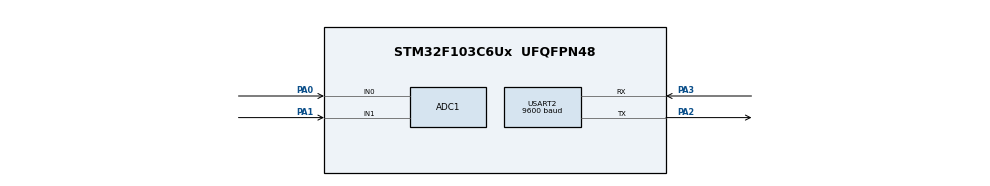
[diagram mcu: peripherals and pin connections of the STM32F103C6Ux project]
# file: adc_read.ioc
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ADC1.Channel-0\#ChannelRegularConversion=ADC_CHANNEL_0
ADC1.Channel-1\#ChannelRegularConversion=ADC_CHANNEL_1
ADC1.ContinuousConvMode=ENABLE
ADC1.NbrOfConversion=2
ADC1.NbrOfConversionFlag=1
ADC1.Rank-0\#ChannelRegularConversion=1
ADC1.Rank-1\#ChannelRegularConversion=2
ADC1.SamplingTime-0\#ChannelRegularConversion=ADC_SAMPLETIME_1CYCLE_5
ADC1.SamplingTime-1\#ChannelRegularConversion=ADC_SAMPLETIME_7CYCLES_5
ADC1.master=1
Mcu.Family=STM32F1
Mcu.Name=STM32F103C6Ux
Mcu.Package=UFQFPN48
NVIC.PriorityGroup=NVIC_PRIORITYGROUP_4
NVIC.TIM2_IRQn=true\:0\:0\:false\:false\:true\:true\:true
NVIC.USART2_IRQn=true\:0\:0\:false\:false\:true\:true\:true
PA0-WKUP.Signal=ADCx_IN0
PA1.Signal=ADCx_IN1
PA2.Mode=Asynchronous
PA2.Signal=USART2_TX
PA3.Mode=Asynchronous
PA3.Signal=USART2_RX
ProjectManager.HeapSize=0x200
ProjectManager.StackSize=0x400
ProjectManager.TargetToolchain=STM32CubeIDE
RCC.APB1Freq_Value=8000000
RCC.APB2Freq_Value=8000000
SH.ADCx_IN0.0=ADC1_IN0,IN0
SH.ADCx_IN1.0=ADC1_IN1,IN1
TIM2.Period=9
TIM2.Prescaler=7999
USART2.BaudRate=9600
USART2.VirtualMode=VM_ASYNC
VP_SYS_VS_ND.Mode=No_Debug
VP_TIM2_VS_ClockSourceINT.Mode=Internal
board=custom

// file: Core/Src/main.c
/* USER CODE BEGIN Header */
/**
  ******************************************************************************
  * @file           : main.c
  * @brief          : Main program body
  ******************************************************************************
  * @attention
  *
  * <h2><center>&copy; Copyright (c) 2022 STMicroelectronics.
  * All rights reserved.</center></h2>
  *
  * This software component is licensed by ST under BSD 3-Clause license,
  * the "License"; You may not use this file except in compliance with the
  * License. You may obtain a copy of the License at:
  *                        opensource.org/licenses/BSD-3-Clause
  *
  ******************************************************************************
  */
/* USER CODE END Header */
#include "main.h"

/* USER CODE BEGIN Includes */
#include "timer.h"
#include "read_string.h"
/* USER CODE END Includes */

ADC_HandleTypeDef hadc1;

TIM_HandleTypeDef htim2;

UART_HandleTypeDef huart2;

void SystemClock_Config(void);
static void MX_GPIO_Init(void);
static void MX_ADC1_Init(void);
static void MX_TIM2_Init(void);
static void MX_USART2_UART_Init(void);

/* USER CODE BEGIN 0 */
void HAL_UART_RxCpltCallback(UART_HandleTypeDef *huart){
	//HAL_UART_Transmit(&huart2, &temp, 1, 50);
	if(huart -> Instance == USART2 ){
		buffer[index_buffer++] = temp;
		if(index_buffer == MAX_BUFFER_SIZE) index_buffer = 0;
		buffer_flag = 1;
		HAL_UART_Receive_IT(&huart2, &temp, 1);

//		buffer[index_buffer2++] = temp2;
//		if(index_buffer2 == MAX_BUFFER_SIZE) index_buffer2 = 0;
//		buffer_flag2 = 1;
//		HAL_UART_Receive_IT(&huart2, &temp, 1);
	}

}

int ADC1_val = 0;
int ADC2_val = 0;
char str[100];
/* USER CODE END 0 */

int main(void)
{

  /* MCU Configuration--------------------------------------------------------*/

  /* Reset of all peripherals, Initializes the Flash interface and the Systick. */
  HAL_Init();

  /* Configure the system clock */
  SystemClock_Config();

  /* Initialize all configured peripherals */
  MX_GPIO_Init();
  MX_ADC1_Init();
  MX_TIM2_Init();
  MX_USART2_UART_Init();
  /* USER CODE BEGIN 2 */
  HAL_UART_Receive_IT (&huart2, &temp, 1);
  HAL_TIM_Base_Start_IT(&htim2);
  /* USER CODE END 2 */
// setTimer2(100);
  /* Infinite loop */
  while (1)
  {
 	  if (buffer_flag == 1){
 		  cmd_parser_fsm();
 		  buffer_flag = 0;
 	  }

 	  uart_comms_fsm();
  }
}

void SystemClock_Config(void)
{
  RCC_OscInitTypeDef RCC_OscInitStruct = {0};
  RCC_ClkInitTypeDef RCC_ClkInitStruct = {0};
  RCC_PeriphCLKInitTypeDef PeriphClkInit = {0};

  /** Initializes the RCC Oscillators according to the specified parameters
  * in the RCC_OscInitTypeDef structure.
  */
  RCC_OscInitStruct.OscillatorType = RCC_OSCILLATORTYPE_HSI;
  RCC_OscInitStruct.HSIState = RCC_HSI_ON;
  RCC_OscInitStruct.HSICalibrationValue = RCC_HSICALIBRATION_DEFAULT;
  RCC_OscInitStruct.PLL.PLLState = RCC_PLL_NONE;
  if (HAL_RCC_OscConfig(&RCC_OscInitStruct) != HAL_OK)
  {
    Error_Handler();
  }
  /** Initializes the CPU, AHB and APB buses clocks
  */
  RCC_ClkInitStruct.ClockType = RCC_CLOCKTYPE_HCLK|RCC_CLOCKTYPE_SYSCLK
                              |RCC_CLOCKTYPE_PCLK1|RCC_CLOCKTYPE_PCLK2;
  RCC_ClkInitStruct.SYSCLKSource = RCC_SYSCLKSOURCE_HSI;
  RCC_ClkInitStruct.AHBCLKDivider = RCC_SYSCLK_DIV1;
  RCC_ClkInitStruct.APB1CLKDivider = RCC_HCLK_DIV1;
  RCC_ClkInitStruct.APB2CLKDivider = RCC_HCLK_DIV1;

  if (HAL_RCC_ClockConfig(&RCC_ClkInitStruct, FLASH_LATENCY_0) != HAL_OK)
  {
    Error_Handler();
  }
  PeriphClkInit.PeriphClockSelection = RCC_PERIPHCLK_ADC;
  PeriphClkInit.AdcClockSelection = RCC_ADCPCLK2_DIV2;
  if (HAL_RCCEx_PeriphCLKConfig(&PeriphClkInit) != HAL_OK)
  {
    Error_Handler();
  }
}

static void MX_ADC1_Init(void)
{

  /** Common config
  */
  hadc1.Instance = ADC1;
  hadc1.Init.ScanConvMode = ADC_SCAN_ENABLE;
  hadc1.Init.ContinuousConvMode = ENABLE;
  hadc1.Init.DiscontinuousConvMode = DISABLE;
  hadc1.Init.ExternalTrigConv = ADC_SOFTWARE_START;
  hadc1.Init.DataAlign = ADC_DATAALIGN_RIGHT;
  hadc1.Init.NbrOfConversion = 1;
  if (HAL_ADC_Init(&hadc1) != HAL_OK)
  {
    Error_Handler();
  }
  /** Configure Regular Channel
  */
//  sConfig.Channel = ADC_CHANNEL_0;
//  sConfig.Rank = ADC_REGULAR_RANK_1;
//  sConfig.SamplingTime = ADC_SAMPLETIME_1CYCLE_5;
//  if (HAL_ADC_ConfigChannel(&hadc1, &sConfig) != HAL_OK)
//  {
//    Error_Handler();
//  }
//  /** Configure Regular Channel
//  */
//  sConfig.Channel = ADC_CHANNEL_1;
//  sConfig.Rank = ADC_REGULAR_RANK_2;
//  sConfig.SamplingTime = ADC_SAMPLETIME_7CYCLES_5;
//  if (HAL_ADC_ConfigChannel(&hadc1, &sConfig) != HAL_OK)
//  {
//    Error_Handler();
//  }

}

static void MX_TIM2_Init(void)
{

  TIM_ClockConfigTypeDef sClockSourceConfig = {0};
  TIM_MasterConfigTypeDef sMasterConfig = {0};

  htim2.Instance = TIM2;
  htim2.Init.Prescaler = 7999;
  htim2.Init.CounterMode = TIM_COUNTERMODE_UP;
  htim2.Init.Period = 9;
  htim2.Init.ClockDivision = TIM_CLOCKDIVISION_DIV1;
  htim2.Init.AutoReloadPreload = TIM_AUTORELOAD_PRELOAD_DISABLE;
  if (HAL_TIM_Base_Init(&htim2) != HAL_OK)
  {
    Error_Handler();
  }
  sClockSourceConfig.ClockSource = TIM_CLOCKSOURCE_INTERNAL;
  if (HAL_TIM_ConfigClockSource(&htim2, &sClockSourceConfig) != HAL_OK)
  {
    Error_Handler();
  }
  sMasterConfig.MasterOutputTrigger = TIM_TRGO_RESET;
  sMasterConfig.MasterSlaveMode = TIM_MASTERSLAVEMODE_DISABLE;
  if (HAL_TIMEx_MasterConfigSynchronization(&htim2, &sMasterConfig) != HAL_OK)
  {
    Error_Handler();
  }

}

static void MX_USART2_UART_Init(void)
{

  huart2.Instance = USART2;
  huart2.Init.BaudRate = 9600;
  huart2.Init.WordLength = UART_WORDLENGTH_8B;
  huart2.Init.StopBits = UART_STOPBITS_1;
  huart2.Init.Parity = UART_PARITY_NONE;
  huart2.Init.Mode = UART_MODE_TX_RX;
  huart2.Init.HwFlowCtl = UART_HWCONTROL_NONE;
  huart2.Init.OverSampling = UART_OVERSAMPLING_16;
  if (HAL_UART_Init(&huart2) != HAL_OK)
  {
    Error_Handler();
  }

}

static void MX_GPIO_Init(void)
{

  /* GPIO Ports Clock Enable */
  __HAL_RCC_GPIOA_CLK_ENABLE();

}

/* USER CODE BEGIN 4 */
void HAL_TIM_PeriodElapsedCallback(TIM_HandleTypeDef *htim) {
	timerRun();
}

void ADC_Select_CH0 (void)
{
 ADC_ChannelConfTypeDef sConfig = {0};
 sConfig.Channel = ADC_CHANNEL_0;
 sConfig.Rank = ADC_REGULAR_RANK_1;
 sConfig.SamplingTime = ADC_SAMPLETIME_1CYCLE_5;
 if (HAL_ADC_ConfigChannel(&hadc1, &sConfig) != HAL_OK)
 {
   Error_Handler();
 }
}
// khởi tạo ADC1 channel 1
void ADC_Select_CH1 (void)
{
 ADC_ChannelConfTypeDef sConfig = {0};
 sConfig.Channel = ADC_CHANNEL_1;
 sConfig.Rank = ADC_REGULAR_RANK_1;
 sConfig.SamplingTime = ADC_SAMPLETIME_7CYCLES_5;
 if (HAL_ADC_ConfigChannel(&hadc1, &sConfig) != HAL_OK)
 {
   Error_Handler();
 }
}
/* USER CODE END 4 */

void Error_Handler(void)
{
  __disable_irq();
  while (1)
  {
  }
}

/************************ (C) COPYRIGHT STMicroelectronics *****END OF FILE****/
